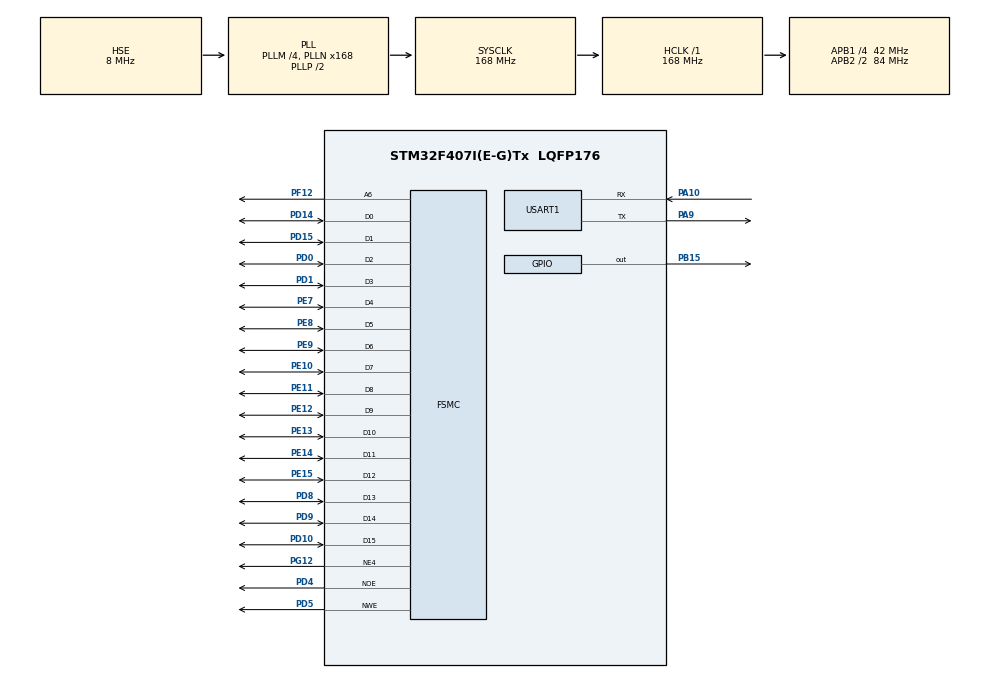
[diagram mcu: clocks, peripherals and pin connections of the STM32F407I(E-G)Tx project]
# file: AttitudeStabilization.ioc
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Dma.Request0=USART1_RX
Dma.Request1=USART1_TX
Dma.USART1_RX.0.Direction=DMA_PERIPH_TO_MEMORY
Dma.USART1_RX.0.FIFOMode=DMA_FIFOMODE_DISABLE
Dma.USART1_RX.0.Instance=DMA2_Stream2
Dma.USART1_RX.0.MemDataAlignment=DMA_MDATAALIGN_BYTE
Dma.USART1_RX.0.MemInc=DMA_MINC_ENABLE
Dma.USART1_RX.0.Mode=DMA_CIRCULAR
Dma.USART1_RX.0.PeriphDataAlignment=DMA_PDATAALIGN_BYTE
Dma.USART1_RX.0.PeriphInc=DMA_PINC_DISABLE
Dma.USART1_RX.0.Priority=DMA_PRIORITY_LOW
Dma.USART1_TX.1.Direction=DMA_MEMORY_TO_PERIPH
Dma.USART1_TX.1.FIFOMode=DMA_FIFOMODE_DISABLE
Dma.USART1_TX.1.Instance=DMA2_Stream7
Dma.USART1_TX.1.MemDataAlignment=DMA_MDATAALIGN_BYTE
Dma.USART1_TX.1.MemInc=DMA_MINC_ENABLE
Dma.USART1_TX.1.Mode=DMA_NORMAL
Dma.USART1_TX.1.PeriphDataAlignment=DMA_PDATAALIGN_BYTE
Dma.USART1_TX.1.PeriphInc=DMA_PINC_DISABLE
Dma.USART1_TX.1.Priority=DMA_PRIORITY_LOW
FREERTOS.Tasks01=defaultTask,0,128,StartDefaultTask,Default,NULL,Dynamic,NULL,NULL;DataRecv,2,128,StartDataRecv,Default,NULL,Dynamic,NULL,NULL;LCDConrtol,0,128,StartLCDCTL,Default,NULL,Dynamic,NULL,NULL;DataProcess,2,128,StartDataProcess,Default,NULL,Dynamic,NULL,NULL
FREERTOS.configUSE_IDLE_HOOK=0
FREERTOS.configUSE_TICKLESS_IDLE=0
FREERTOS.configUSE_TIMERS=1
FSMC.BusTurnAroundDuration1=0
FSMC.DataSetupTime1=60
FSMC.ExtendedAddressSetupTime1=9
FSMC.ExtendedBusTurnAroundDuration1=0
FSMC.ExtendedDataSetupTime1=8
FSMC.ExtendedMode1=FSMC_EXTENDED_MODE_ENABLE
Mcu.Family=STM32F4
Mcu.Name=STM32F407I(E-G)Tx
Mcu.Package=LQFP176
NVIC.DMA2_Stream2_IRQn=true\:5\:0\:false\:false\:true\:true\:false\:true\:true
NVIC.DMA2_Stream7_IRQn=true\:5\:0\:false\:false\:true\:true\:false\:true\:true
NVIC.PriorityGroup=NVIC_PRIORITYGROUP_4
NVIC.TIM7_IRQn=true\:15\:0\:false\:false\:true\:false\:false\:true\:true
NVIC.TimeBase=TIM7_IRQn
NVIC.TimeBaseIP=TIM7
NVIC.USART1_IRQn=true\:5\:0\:false\:false\:true\:true\:true\:true\:true
PA10.GPIO_ModeDefaultPP=GPIO_MODE_AF_PP
PA10.Mode=Asynchronous
PA10.Signal=USART1_RX
PA13.Mode=Serial_Wire
PA13.Signal=SYS_JTMS-SWDIO
PA14.Mode=Serial_Wire
PA14.Signal=SYS_JTCK-SWCLK
PA9.GPIO_ModeDefaultPP=GPIO_MODE_AF_PP
PA9.Mode=Asynchronous
PA9.Signal=USART1_TX
PB15.GPIO_PuPd=GPIO_PULLDOWN
PB15.Signal=GPIO_Output
PD0.Signal=FSMC_D2_DA2
PD1.Signal=FSMC_D3_DA3
PD10.Signal=FSMC_D15_DA15
PD14.Signal=FSMC_D0_DA0
PD15.Signal=FSMC_D1_DA1
PD4.Signal=FSMC_NOE
PD5.Signal=FSMC_NWE
PD8.Signal=FSMC_D13_DA13
PD9.Signal=FSMC_D14_DA14
PE10.Signal=FSMC_D7_DA7
PE11.Signal=FSMC_D8_DA8
PE12.Signal=FSMC_D9_DA9
PE13.Signal=FSMC_D10_DA10
PE14.Signal=FSMC_D11_DA11
PE15.Signal=FSMC_D12_DA12
PE7.Signal=FSMC_D4_DA4
PE8.Signal=FSMC_D5_DA5
PE9.Signal=FSMC_D6_DA6
PF12.Signal=FSMC_A6
PG12.Mode=NorPsramChipSelect4_1
PG12.Signal=FSMC_NE4
PH0-OSC_IN.Mode=HSE-External-Oscillator
PH0-OSC_IN.Signal=RCC_OSC_IN
PH1-OSC_OUT.Mode=HSE-External-Oscillator
PH1-OSC_OUT.Signal=RCC_OSC_OUT
ProjectManager.HeapSize=0x800
ProjectManager.StackSize=0x800
ProjectManager.TargetToolchain=MDK-ARM V5.27
RCC.48MHZClocksFreq_Value=84000000
RCC.AHBFreq_Value=168000000
RCC.APB1CLKDivider=RCC_HCLK_DIV4
RCC.APB1Freq_Value=42000000
RCC.APB1TimFreq_Value=84000000
RCC.APB2CLKDivider=RCC_HCLK_DIV2
RCC.APB2Freq_Value=84000000
RCC.APB2TimFreq_Value=168000000
RCC.CortexFreq_Value=168000000
RCC.HCLKFreq_Value=168000000
RCC.HSE_VALUE=8000000
RCC.HSI_VALUE=16000000
RCC.LSE_VALUE=32768
RCC.PLLM=4
RCC.PLLN=168
RCC.PLLSourceVirtual=RCC_PLLSOURCE_HSE
RCC.SYSCLKFreq_VALUE=168000000
RCC.SYSCLKSource=RCC_SYSCLKSOURCE_PLLCLK
RCC.VCOOutputFreq_Value=336000000
SH.FSMC_A6.0=FSMC_A6,A6_1
SH.FSMC_D0_DA0.0=FSMC_D0,16b-d1
SH.FSMC_D10_DA10.0=FSMC_D10,16b-d1
SH.FSMC_D11_DA11.0=FSMC_D11,16b-d1
SH.FSMC_D12_DA12.0=FSMC_D12,16b-d1
SH.FSMC_D13_DA13.0=FSMC_D13,16b-d1
SH.FSMC_D14_DA14.0=FSMC_D14,16b-d1
SH.FSMC_D15_DA15.0=FSMC_D15,16b-d1
SH.FSMC_D1_DA1.0=FSMC_D1,16b-d1
SH.FSMC_D2_DA2.0=FSMC_D2,16b-d1
SH.FSMC_D3_DA3.0=FSMC_D3,16b-d1
SH.FSMC_D4_DA4.0=FSMC_D4,16b-d1
SH.FSMC_D5_DA5.0=FSMC_D5,16b-d1
SH.FSMC_D6_DA6.0=FSMC_D6,16b-d1
SH.FSMC_D7_DA7.0=FSMC_D7,16b-d1
SH.FSMC_D8_DA8.0=FSMC_D8,16b-d1
SH.FSMC_D9_DA9.0=FSMC_D9,16b-d1
SH.FSMC_NOE.0=FSMC_NOE,Lcd1
SH.FSMC_NWE.0=FSMC_NWE,Lcd1
STMicroelectronics.X-CUBE-AI.10.0.0.ActivationBufferSizeList=3100
STMicroelectronics.X-CUBE-AI.10.0.0.ActivationBuffers=pool0
STMicroelectronics.X-CUBE-AI.10.0.0.ActivationNames=pool0
STMicroelectronics.X-CUBE-AI.10.0.0.ActivationSizes=AI_NETWORK_DATA_ACTIVATION_1_SIZE
STMicroelectronics.X-CUBE-AI.10.0.0.ApplicationCcDeviceJjApplication=Validation
STMicroelectronics.X-CUBE-AI.10.0.0.BSP.number=1
STMicroelectronics.X-CUBE-AI.10.0.0.HeapSize=0x800
STMicroelectronics.X-CUBE-AI.10.0.0.InternalRamActivationBufferMaxSize=AI_NETWORK_DATA_ACTIVATIONS_SIZE
STMicroelectronics.X-CUBE-AI.10.0.0.LatestDirectoryUsed-5081d3b3d7806bf72ed8195b557103ff620e20877d0fd5100fe503a91f835b19=G\:\\code\\AFTC\\models\\u_max_008_light
STMicroelectronics.X-CUBE-AI.10.0.0.MaximumNumberOfInputLayer=1
STMicroelectronics.X-CUBE-AI.10.0.0.MaximumNumberOfOutputLayer=1
STMicroelectronics.X-CUBE-AI.10.0.0.MaximumSizeOfInputLayer=1
STMicroelectronics.X-CUBE-AI.10.0.0.MaximumSizeOfOutputLayer=1
STMicroelectronics.X-CUBE-AI.10.0.0.ModelActualCompression-5081d3b3d7806bf72ed8195b557103ff620e20877d0fd5100fe503a91f835b19=0.0
STMicroelectronics.X-CUBE-AI.10.0.0.ModelCompression-5081d3b3d7806bf72ed8195b557103ff620e20877d0fd5100fe503a91f835b19=None
STMicroelectronics.X-CUBE-AI.10.0.0.ModelFlashOccupation-5081d3b3d7806bf72ed8195b557103ff620e20877d0fd5100fe503a91f835b19=51090
STMicroelectronics.X-CUBE-AI.10.0.0.ModelHashList=5081d3b3d7806bf72ed8195b557103ff620e20877d0fd5100fe503a91f835b19
STMicroelectronics.X-CUBE-AI.10.0.0.ModelKind-5081d3b3d7806bf72ed8195b557103ff620e20877d0fd5100fe503a91f835b19=ONNX
STMicroelectronics.X-CUBE-AI.10.0.0.ModelMacc-5081d3b3d7806bf72ed8195b557103ff620e20877d0fd5100fe503a91f835b19=10087
STMicroelectronics.X-CUBE-AI.10.0.0.ModelName-5081d3b3d7806bf72ed8195b557103ff620e20877d0fd5100fe503a91f835b19=network
STMicroelectronics.X-CUBE-AI.10.0.0.ModelNameList=network
STMicroelectronics.X-CUBE-AI.10.0.0.ModelRamOccupation-5081d3b3d7806bf72ed8195b557103ff620e20877d0fd5100fe503a91f835b19=3100
STMicroelectronics.X-CUBE-AI.10.0.0.ModelStructureFile-5081d3b3d7806bf72ed8195b557103ff620e20877d0fd5100fe503a91f835b19=G\:\\code\\AFTC\\models\\u_max_008_light\\TD3_SunPointFaultSatellite_1_actor.onnx
STMicroelectronics.X-CUBE-AI.10.0.0.ModelType-5081d3b3d7806bf72ed8195b557103ff620e20877d0fd5100fe503a91f835b19=STM32Cube.AI MCU runtime
STMicroelectronics.X-CUBE-AI.10.0.0.ReadyForCodeGeneration=true
STMicroelectronics.X-CUBE-AI.10.0.0.StackSize=0x800
STMicroelectronics.X-CUBE-AI.10.0.0.WorkingBufferStartAddrList=0xFFFFFFFF
STMicroelectronics.X-CUBE-AI.10.0.0.XAaCUBEAaAICcArtificialOoIntelligenceJjCore=true
STMicroelectronics.X-CUBE-AI.10.0.0.copyWeightToRam=false
STMicroelectronics.X-CUBE-AI.10.0.0.copyWeightToRam-5081d3b3d7806bf72ed8195b557103ff620e20877d0fd5100fe503a91f835b19=false
STMicroelectronics.X-CUBE-AI.10.0.0.customLayerConfigEnabled=false
STMicroelectronics.X-CUBE-AI.10.0.0.customLayerConfigEnabled-5081d3b3d7806bf72ed8195b557103ff620e20877d0fd5100fe503a91f835b19=false
STMicroelectronics.X-CUBE-AI.10.0.0.noOnnxIoTranspose=false
STMicroelectronics.X-CUBE-AI.10.0.0.noOnnxIoTranspose-5081d3b3d7806bf72ed8195b557103ff620e20877d0fd5100fe503a91f835b19=false
STMicroelectronics.X-CUBE-AI.10.0.0.optimization-5081d3b3d7806bf72ed8195b557103ff620e20877d0fd5100fe503a91f835b19=time
STMicroelectronics.X-CUBE-AI.10.0.0.useInputAllocation=true
STMicroelectronics.X-CUBE-AI.10.0.0.useInputAllocation-5081d3b3d7806bf72ed8195b557103ff620e20877d0fd5100fe503a91f835b19=true
STMicroelectronics.X-CUBE-AI.10.0.0.useOutputAllocation=true
STMicroelectronics.X-CUBE-AI.10.0.0.useOutputAllocation-5081d3b3d7806bf72ed8195b557103ff620e20877d0fd5100fe503a91f835b19=true
STMicroelectronics.X-CUBE-AI.10.0.00.BSP.STBoard=false
STMicroelectronics.X-CUBE-AI.10.0.00.BSP.api=Unknown
STMicroelectronics.X-CUBE-AI.10.0.00.BSP.condition=\!SEMDeviceJjApplicationJjApplicationTemplate
STMicroelectronics.X-CUBE-AI.10.0.00.BSP.instance=USART1
STMicroelectronics.X-CUBE-AI.10.0.00.BSP.ip=USART
STMicroelectronics.X-CUBE-AI.10.0.00.BSP.mode=Asynchronous
STMicroelectronics.X-CUBE-AI.10.0.00.BSP.name=COM Port
STMicroelectronics.X-CUBE-AI.10.0.00.BSP.solution=USART1
USART1.VirtualMode=VM_ASYNC
VP_CRC_VS_CRC.Mode=CRC_Activate
VP_FREERTOS_VS_CMSIS_V1.Mode=CMSIS_V1
VP_STMicroelectronics.X-CUBE-AI_VS_ArtificialOoIntelligenceJjXAaCUBEAaAI_10.0.0.Mode=ArtificialOoIntelligenceJjXAaCUBEAaAI
VP_STMicroelectronics.X-CUBE-AI_VS_DeviceJjApplication_10.0.0.Mode=DeviceJjApplication
VP_SYS_VS_tim7.Mode=TIM7
board=custom

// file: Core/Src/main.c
/* USER CODE BEGIN Header */
/**
 ******************************************************************************
 * @file           : main.c
 * @brief          : Main program body
 ******************************************************************************
 * @attention
 *
 * Copyright (c) 2023 STMicroelectronics.
 * All rights reserved.
 *
 * This software is licensed under terms that can be found in the LICENSE file
 * in the root directory of this software component.
 * If no LICENSE file comes with this software, it is provided AS-IS.
 *
 ******************************************************************************
 */
/* USER CODE END Header */
#include "main.h"
#include "cmsis_os.h"
#include "crc.h"
#include "dma.h"
#include "usart.h"
#include "gpio.h"
#include "fsmc.h"
#include "app_x-cube-ai.h"

/* USER CODE BEGIN Includes */
#include "base.h"
#include "ai.h"
#include "stdlib.h"

/* USER CODE END Includes */

/* USER CODE BEGIN PV */
static unsigned char rx_buf[MAX_RECV_BUFFER];
PackageManager *package_manager = NULL;
/* USER CODE END PV */

void SystemClock_Config(void);
void MX_FREERTOS_Init(void);

/* USER CODE BEGIN 0 */
//#ifdef __GNUC__
//#define PUTCHAR_PROTOTYPE int __io_putchar(int ch)
//#else
//#define PUTCHAR_PROTOTYPE int fputc(int ch, FILE *f)
//#endif
//PUTCHAR_PROTOTYPE {
//  HAL_UART_Transmit(&huart1, (uint8_t *)&ch, 1, 0xFFFF);

//  return ch;
//}
/* USER CODE END 0 */

int main(void)
{

  /* MCU Configuration--------------------------------------------------------*/

  /* Reset of all peripherals, Initializes the Flash interface and the Systick. */
  HAL_Init();

  /* USER CODE BEGIN Init */
  package_manager = malloc(sizeof(PackageManager));
  PackageManager_init(package_manager, "SSSSSSSS\0", "EEEEEEEE\0");

  /* USER CODE END Init */

  /* Configure the system clock */
  SystemClock_Config();

  /* Initialize all configured peripherals */
  MX_GPIO_Init();
  MX_DMA_Init();
  MX_CRC_Init();
  MX_USART1_UART_Init();
  MX_FSMC_Init();
  MX_X_CUBE_AI_Init();
  /* USER CODE BEGIN 2 */

  // 启用IDLE中断
  __HAL_UART_ENABLE_IT(&huart1, UART_IT_IDLE);
  // 启动DMA接收
  HAL_UART_Receive_DMA(&huart1, (uint8_t *)rx_buf, MAX_RECV_BUFFER);
  HAL_Delay(100);
  LCD_Init();

  POINT_COLOR = BLACK;

  LCD_Clear(WHITE);
  LCD_ShowString(20, 40, 210, 24, 24, (u8 *)"Evaluation");

  AI_Init();

  printf("Loop Start\r\n");
  /* USER CODE END 2 */

  /* Call init function for freertos objects (in freertos.c) */
  MX_FREERTOS_Init();

  /* Start scheduler */
  osKernelStart();
  /* We should never get here as control is now taken by the scheduler */
  /* Infinite loop */
  while (1) {

  }
}

void SystemClock_Config(void)
{
  RCC_OscInitTypeDef RCC_OscInitStruct = {0};
  RCC_ClkInitTypeDef RCC_ClkInitStruct = {0};

  /** Configure the main internal regulator output voltage
  */
  __HAL_RCC_PWR_CLK_ENABLE();
  __HAL_PWR_VOLTAGESCALING_CONFIG(PWR_REGULATOR_VOLTAGE_SCALE1);

  /** Initializes the RCC Oscillators according to the specified parameters
  * in the RCC_OscInitTypeDef structure.
  */
  RCC_OscInitStruct.OscillatorType = RCC_OSCILLATORTYPE_HSE;
  RCC_OscInitStruct.HSEState = RCC_HSE_ON;
  RCC_OscInitStruct.PLL.PLLState = RCC_PLL_ON;
  RCC_OscInitStruct.PLL.PLLSource = RCC_PLLSOURCE_HSE;
  RCC_OscInitStruct.PLL.PLLM = 4;
  RCC_OscInitStruct.PLL.PLLN = 168;
  RCC_OscInitStruct.PLL.PLLP = RCC_PLLP_DIV2;
  RCC_OscInitStruct.PLL.PLLQ = 4;
  if (HAL_RCC_OscConfig(&RCC_OscInitStruct) != HAL_OK)
  {
    Error_Handler();
  }

  /** Initializes the CPU, AHB and APB buses clocks
  */
  RCC_ClkInitStruct.ClockType = RCC_CLOCKTYPE_HCLK|RCC_CLOCKTYPE_SYSCLK
                              |RCC_CLOCKTYPE_PCLK1|RCC_CLOCKTYPE_PCLK2;
  RCC_ClkInitStruct.SYSCLKSource = RCC_SYSCLKSOURCE_PLLCLK;
  RCC_ClkInitStruct.AHBCLKDivider = RCC_SYSCLK_DIV1;
  RCC_ClkInitStruct.APB1CLKDivider = RCC_HCLK_DIV4;
  RCC_ClkInitStruct.APB2CLKDivider = RCC_HCLK_DIV2;

  if (HAL_RCC_ClockConfig(&RCC_ClkInitStruct, FLASH_LATENCY_5) != HAL_OK)
  {
    Error_Handler();
  }
}

/* USER CODE BEGIN 4 */
void HAL_UART_IdleCallback(UART_HandleTypeDef *huart) {
	if (huart->Instance == USART1) {
		// 清除IDLE中断标志
    __HAL_UART_CLEAR_IDLEFLAG(&huart1);
		// 停止 DMA 传输
		HAL_UART_DMAStop(&huart1);

		// 计算接收到的数据长度
		uint16_t recv_len = MAX_RECV_BUFFER - __HAL_DMA_GET_COUNTER(huart1.hdmarx);

    // 队列塞入数据长度
    BaseType_t pxHigherPriorityTaskWoken = pdFALSE;
    xQueueSendFromISR(dataLenQueue, &recv_len, &pxHigherPriorityTaskWoken);

		// 处理接收到的数据
		for (int i = 0; i < recv_len; i++) {
				xQueueSendFromISR(dataQueue, &rx_buf[i], &pxHigherPriorityTaskWoken);
		}

		// 重新启动 DMA 接收
		HAL_UART_Receive_DMA(&huart1, (uint8_t *)rx_buf, MAX_RECV_BUFFER);

		portYIELD_FROM_ISR(pxHigherPriorityTaskWoken);
	}
}

/* USER CODE END 4 */

void HAL_TIM_PeriodElapsedCallback(TIM_HandleTypeDef *htim)
{
  if (htim->Instance == TIM7) {
    HAL_IncTick();
  }
}

void Error_Handler(void)
{
  /* USER CODE BEGIN Error_Handler_Debug */
  /* User can add his own implementation to report the HAL error return
   * state
   */
  __disable_irq();
  while (1) {
  }
  /* USER CODE END Error_Handler_Debug */
}

#ifdef  USE_FULL_ASSERT
/**
  * @brief  Reports the name of the source file and the source line number
  *         where the assert_param error has occurred.
  * @param  file: pointer to the source file name
  * @param  line: assert_param error line source number
  * @retval None
  */
void assert_failed(uint8_t *file, uint32_t line)
{
  /* USER CODE BEGIN 6 */
  /* User can add his own implementation to report the file name and line
     number, ex: printf("Wrong parameters value: file %s on line %d\r\n",
     file, line) */
  /* USER CODE END 6 */
}
#endif /* USE_FULL_ASSERT */

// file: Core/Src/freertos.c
/* USER CODE BEGIN Header */
/**
 ******************************************************************************
 * File Name          : freertos.c
 * Description        : Code for freertos applications
 ******************************************************************************
 * @attention
 *
 * Copyright (c) 2024 STMicroelectronics.
 * All rights reserved.
 *
 * This software is licensed under terms that can be found in the LICENSE file
 * in the root directory of this software component.
 * If no LICENSE file comes with this software, it is provided AS-IS.
 *
 ******************************************************************************
 */
/* USER CODE END Header */

#include "FreeRTOS.h"
#include "task.h"
#include "main.h"
#include "cmsis_os.h"

/* USER CODE BEGIN Includes */
#include "base.h"
#include "ai.h"
#include <limits.h>

/* USER CODE END Includes */

/* USER CODE BEGIN Variables */
QueueHandle_t dataQueue = NULL;
QueueHandle_t dataLenQueue = NULL;

static unsigned char recvBuffer[MAX_RECV_BUFFER] = {0};  // 接收缓冲�?????
uint8_t sendBuffer[MAX_RECV_BUFFER] = {0};  // 发送缓冲区
// 事件组可以代替信号量的工作，完成任务与任务，中断与任务的通信
EventGroupHandle_t EventGroup;

/* USER CODE END Variables */
osThreadId defaultTaskHandle;
osThreadId DataRecvHandle;
osThreadId LCDConrtolHandle;
osThreadId DataProcessHandle;

void StartDefaultTask(void const * argument);
void StartDataRecv(void const * argument);
void StartLCDCTL(void const * argument);
void StartDataProcess(void const * argument);

void MX_FREERTOS_Init(void); /* (MISRA C 2004 rule 8.1) */

/* GetIdleTaskMemory prototype (linked to static allocation support) */
void vApplicationGetIdleTaskMemory( StaticTask_t **ppxIdleTaskTCBBuffer, StackType_t **ppxIdleTaskStackBuffer, uint32_t *pulIdleTaskStackSize );

/* GetTimerTaskMemory prototype (linked to static allocation support) */
void vApplicationGetTimerTaskMemory( StaticTask_t **ppxTimerTaskTCBBuffer, StackType_t **ppxTimerTaskStackBuffer, uint32_t *pulTimerTaskStackSize );

/* USER CODE BEGIN GET_IDLE_TASK_MEMORY */
static StaticTask_t xIdleTaskTCBBuffer;
static StackType_t xIdleStack[configMINIMAL_STACK_SIZE];

void vApplicationGetIdleTaskMemory(StaticTask_t **ppxIdleTaskTCBBuffer,
                                   StackType_t **ppxIdleTaskStackBuffer,
                                   uint32_t *pulIdleTaskStackSize) {
  *ppxIdleTaskTCBBuffer = &xIdleTaskTCBBuffer;
  *ppxIdleTaskStackBuffer = &xIdleStack[0];
  *pulIdleTaskStackSize = configMINIMAL_STACK_SIZE;
  /* place for user code */
}
/* USER CODE END GET_IDLE_TASK_MEMORY */

/* USER CODE BEGIN GET_TIMER_TASK_MEMORY */
static StaticTask_t xTimerTaskTCBBuffer;
static StackType_t xTimerStack[configTIMER_TASK_STACK_DEPTH];

void vApplicationGetTimerTaskMemory(StaticTask_t **ppxTimerTaskTCBBuffer,
                                    StackType_t **ppxTimerTaskStackBuffer,
                                    uint32_t *pulTimerTaskStackSize) {
  *ppxTimerTaskTCBBuffer = &xTimerTaskTCBBuffer;
  *ppxTimerTaskStackBuffer = &xTimerStack[0];
  *pulTimerTaskStackSize = configTIMER_TASK_STACK_DEPTH;
  /* place for user code */
}
/* USER CODE END GET_TIMER_TASK_MEMORY */

void MX_FREERTOS_Init(void) {

  /* USER CODE BEGIN RTOS_SEMAPHORES */
  /* add semaphores, ... */
  EventGroup = xEventGroupCreate();

  /* USER CODE END RTOS_SEMAPHORES */

  /* USER CODE BEGIN RTOS_QUEUES */
  /* add queues, ... */
  dataQueue = xQueueCreate(QUEUE_MAX_SIZE, sizeof(unsigned char));
  dataLenQueue = xQueueCreate(LEN_QUEUE_MAX_SIZE, sizeof(uint16_t));
  /* USER CODE END RTOS_QUEUES */

  /* Create the thread(s) */
  /* definition and creation of defaultTask */
  osThreadDef(defaultTask, StartDefaultTask, osPriorityNormal, 0, 128);
  defaultTaskHandle = osThreadCreate(osThread(defaultTask), NULL);

  /* definition and creation of DataRecv */
  osThreadDef(DataRecv, StartDataRecv, osPriorityHigh, 0, 128);
  DataRecvHandle = osThreadCreate(osThread(DataRecv), NULL);

  /* definition and creation of LCDConrtol */
  osThreadDef(LCDConrtol, StartLCDCTL, osPriorityNormal, 0, 128);
  LCDConrtolHandle = osThreadCreate(osThread(LCDConrtol), NULL);

  /* definition and creation of DataProcess */
  osThreadDef(DataProcess, StartDataProcess, osPriorityHigh, 0, 1024);
  DataProcessHandle = osThreadCreate(osThread(DataProcess), NULL);

}

void StartDefaultTask(void const * argument)
{
  /* USER CODE BEGIN StartDefaultTask */

  /* Infinite loop */
  for (;;) {
    osDelay(10000);
  }
  /* USER CODE END StartDefaultTask */
}

void StartDataRecv(void const * argument)
{
  /* USER CODE BEGIN StartDataRecv */
  printf("Data recv task created \r\n");

  uint16_t dataLen = 0;

  /* Infinite loop */
  while (1) {
    if (pdTRUE!= xQueueReceive(dataLenQueue, &dataLen, portMAX_DELAY)) {
      continue;
    }

    if (dataLen >= MAX_RECV_BUFFER - 2) {
      printf("Queue len is too long, resetting\r\n");
      dataLen = 0;
      memset(recvBuffer, 0, MAX_RECV_BUFFER);
      continue;
    }

    // 接受dataLen长度的数�????
    for (int i = 0; i < dataLen; i++) {
      if (pdTRUE!= xQueueReceive(dataQueue, &recvBuffer[i], portMAX_DELAY)) {
        printf("Queue receive failed\r\n");
        break;
      }
    }

    void* unpacked_data = NULL;
    CommuDataType unpacked_type;

    if (PackageManager_unpackage((const PackageManager*)package_manager, recvBuffer, dataLen, &unpacked_data, &unpacked_type) == 0) {
      printf("Failed to unpack data\r\n");
      continue;
    }

    switch (unpacked_type) {
      case TELEMETRY: {
        TelemetryStruct* telemetry = (TelemetryStruct*)unpacked_data;
        xTaskNotify(DataProcessHandle, (uint32_t)telemetry, eSetValueWithOverwrite);
        break;
      }
      default: {
        printf("Unknown data type: %d\r\n", unpacked_type);
        break;
      }
    }

    if (unpacked_data != NULL) {
        free(unpacked_data); // 释放内存
    }

    dataLen = 0;
    memset(recvBuffer, 0, MAX_RECV_BUFFER);
  }

  /* USER CODE END StartDataRecv */
}

void StartLCDCTL(void const * argument)
{
  /* USER CODE BEGIN StartLCDCTL */
  printf("LCD control task created \r\n");
  int k = 0;
  char showData[30] = {0};

  /* Infinite loop */
  while (1) {
    EventBits_t bits = xEventGroupWaitBits(
        EventGroup,
        0x01,
        pdTRUE,
        pdFALSE,
        portMAX_DELAY
    );

    if ((bits & 0x01) != 0) {
      sprintf(showData, "k: %d", ++k);
      LCD_ShowString(20, 80, 210, 24, 24, (u8 *)showData);
    }
  }
  /* USER CODE END StartLCDCTL */
}

void StartDataProcess(void const * argument)
{
  /* USER CODE BEGIN StartDataProcess */
	printf("Data process task created \r\n");

  uint32_t notificationValue = 0;
  TelemetryStruct* pTelemetry = NULL;
  /* Infinite loop */
  while(1) {
    if (xTaskNotifyWait(0, ULONG_MAX, &notificationValue, portMAX_DELAY) == pdTRUE) {
      pTelemetry = (TelemetryStruct*)notificationValue;
      if (pTelemetry == NULL) {
        printf("E: Failed to get telemetry data\r\n");
        continue;
      }

      if (AI_Run_Inference(pTelemetry) != 0) {
        printf("E: AI_Run_Inference failed\r\n");
        continue;
      }

      if (m_ai_output == NULL || m_ai_output[0].data == NULL) {
        printf("错误：AI 输出未初始化！\n");
        return;
      }

      // 2. 直接读取输出数据（假设输出是 float[3]�?
      float* output_data = (float*)m_ai_output[0].data;

      pTelemetry->tx = output_data[0];
      pTelemetry->ty = output_data[1];
      pTelemetry->tz = output_data[2];
      printf("遥测保存的结果: %.2f, %.2f, %.2f\n",
        pTelemetry->tx, pTelemetry->ty, pTelemetry->tz);

      uint16_t telemetry_package_len = calculate_package_length((const PackageManager*)package_manager, TELEMETRY, NO_FAULT);
      PackageManager_package((const PackageManager*)package_manager, (const void*)pTelemetry, TELEMETRY, sendBuffer);

      // 打印telemetry_package
      printf("Telemetry package: ");
      for (int i = 0; i < telemetry_package_len; i++) {
        printf("%02X ", sendBuffer[i]);
      }
      HAL_UART_Transmit_DMA(&huart1, sendBuffer, telemetry_package_len);

      xEventGroupSetBits(EventGroup, 0x01);

			if (pTelemetry != NULL) {
				free(pTelemetry);
			}

    }
  }
  /* USER CODE END StartDataProcess */
}
